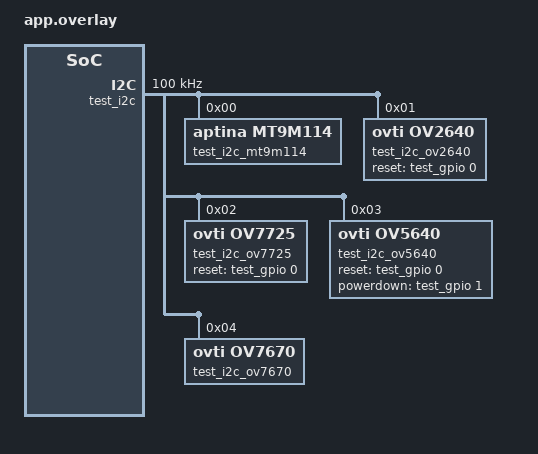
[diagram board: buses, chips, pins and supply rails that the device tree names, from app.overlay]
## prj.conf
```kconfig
CONFIG_TEST=y
CONFIG_TEST_USERSPACE=y
CONFIG_GPIO=y
CONFIG_I2C=y
CONFIG_VIDEO=y
```

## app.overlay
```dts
/*
 * Copyright (c) 2022, Kumar Gala <galak@kernel.org>
 *
 * SPDX-License-Identifier: Apache-2.0
 *
 * Application overlay for testing driver builds
 *
 * Names in this file should be chosen in a way that won't conflict
 * with real-world devicetree nodes, to allow these tests to run on
 * (and be extended to test) real hardware.
 */

/ {
	test {
		#address-cells = <1>;
		#size-cells = <1>;

		test_gpio: gpio@deadbeef {
			compatible = "vnd,gpio";
			gpio-controller;
			reg = <0xdeadbeef 0x1000>;
			#gpio-cells = <0x2>;
			status = "okay";
		};

		test_i2c: i2c@11112222 {
			#address-cells = <1>;
			#size-cells = <0>;
			compatible = "vnd,i2c";
			reg = <0x11112222 0x1000>;
			status = "okay";
			clock-frequency = <100000>;

			test_i2c_mt9m114: mt9m114@0 {
				compatible = "aptina,mt9m114";
				reg = <0>;
			};

			test_i2c_ov2640: ov2640@1 {
				compatible = "ovti,ov2640";
				reg = <0x1>;
				reset-gpios = <&test_gpio 0 0>;
			};

			test_i2c_ov7725: ov7725@2 {
				compatible = "ovti,ov7725";
				reg = <0x2>;
				reset-gpios = <&test_gpio 0 0>;
			};

			test_i2c_ov5640: ov5640@3 {
				compatible = "ovti,ov5640";
				reg = <0x3>;
				reset-gpios = <&test_gpio 0 0>;
				powerdown-gpios = <&test_gpio 1 0>;
			};

			test_i2c_ov7670: ov7670@4 {
				compatible = "ovti,ov7670";
				reg = <0x4>;
			};
		};
	};
};
```

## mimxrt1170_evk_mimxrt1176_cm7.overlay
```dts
/*
 * Copyright 2024 NXP
 *
 * SPDX-License-Identifier: Apache-2.0
 *
 * Names in this file should be chosen in a way that won't conflict
 * with real-world devicetree nodes, to allow these tests to run on
 * (and be extended to test) real hardware.
 */

/ {
	test {
		#address-cells = <1>;
		#size-cells = <1>;

		test_gpio: gpio@deadbeef {
			compatible = "vnd,gpio";
			gpio-controller;
			reg = <0xdeadbeef 0x1000>;
			#gpio-cells = <0x2>;
			status = "okay";
		};

		test_i2c: i2c@11112222 {
			#address-cells = <1>;
			#size-cells = <0>;
			compatible = "vnd,i2c";
			reg = <0x11112222 0x1000>;
			status = "okay";
			clock-frequency = <100000>;

			test_i2c_ov5640: ov5640@1 {
				compatible = "ovti,ov5640";
				reg = <0x1>;
				reset-gpios = <&test_gpio 0 0>;
				powerdown-gpios = <&test_gpio 1 0>;
			};
		};

		test_csi: csi@22223333 {
			compatible = "nxp,imx-csi";
			reg = <0x22223333 0x4000>;
			status = "okay";
			interrupt-parent = <&nvic>;
			interrupts = <56 1>;
			source = <&test_mipi_csi2rx>;
		};

		test_mipi_csi2rx: mipi_csi2rx@33334444 {
			compatible = "nxp,mipi-csi2rx";
			reg = <0x33334444 0x200>;
			status = "okay";
			sensor = <&test_i2c_ov5640>;
		};
	};
};
```

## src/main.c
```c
/*
 * Copyright (c) 2022, Kumar Gala <galak@kernel.org>
 *
 * SPDX-License-Identifier: Apache-2.0
 */

int main(void)
{
	return 0;
}
```
